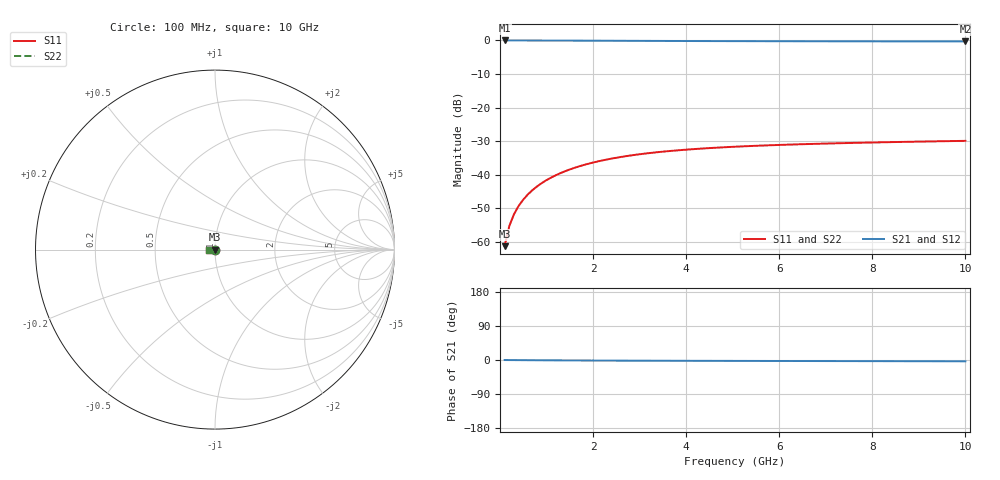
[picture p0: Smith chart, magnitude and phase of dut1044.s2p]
! Touchstone file exported from HFSS 2024.1.0
!  File:  C:/UserFiles/LocalFiles/RDL_TSV_Batchsim/temp_TSV1_1044_1780061997.aedt
!  Generated:  09:45:17 PM May 29, 2026
!  Design:  TSV1
!  Project:  temp_TSV1_1044_1780061997
!  Setup:  Setup1
!  Solution:  Sweep
! Variables:
!  dtsv = 10.76um
!  hbump = 3um
!  htsv = 50.78um
!  lrdl = 252.1521522um
!  p = 40
!  p1 = 45.91um
!  t = 500um
!  trdl = 3um
!  wrdl = 24.89489489um
# GHz S MA R 50.000000
! Terminal data exported
! Port[1] = TSV22_T1
! Port[2] = TSV22_T2
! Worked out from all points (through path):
!   100 points, 100 MHz to 10 GHz, reference 50 ohm
!   highest |S21| = 0.00 dB at 100 MHz (marker M1); lowest = -0.3 dB at 10 GHz (marker M2)
!   lowest |S11| = -61.2 dB at 100 MHz (marker M3), VSWR 1.00, Z = 50 - j0.0863 ohm
!   |S11| at or under -10 dB: start of sweep to end of sweep
!   |S22| runs from -61.2 to -29.9 dB; largest |S21 - S12| = 1.1e-14
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0.1  0.000866 -85.2  0.9999 -0.1  0.9999 -0.1  0.000866 -85.2
! Gamma 0 0 0 0
! Port Impedance 50 0 50 0
0.2  0.001722 -90.2  0.9998 -0.2  0.9998 -0.2  0.001722 -90.2
0.3  0.002576 -92.9  0.9997 -0.3  0.9997 -0.3  0.002576 -92.9
0.4  0.003426 -95.2  0.9995 -0.3  0.9995 -0.3  0.003426 -95.2
0.5  0.004268 -97.2  0.9992 -0.4  0.9992 -0.4  0.004268 -97.2
0.6  0.005102 -99.1  0.9989 -0.5  0.9989 -0.5  0.005102 -99.1
0.7  0.005926 -100.9  0.9986 -0.6  0.9986 -0.6  0.005926 -100.9
0.8  0.006739 -102.6  0.9982 -0.6  0.9982 -0.6  0.006739 -102.6
0.9  0.007538 -104.3  0.9978 -0.7  0.9978 -0.7  0.007538 -104.3
1.1  0.009094 -107.7  0.9969 -0.9  0.9969 -0.9  0.009094 -107.7
1.4  0.0113 -112.4  0.9953 -1.1  0.9953 -1.1  0.0113 -112.4
1.6  0.01268 -115.3  0.9942 -1.2  0.9942 -1.2  0.01268 -115.3
1.8  0.01399 -118.2  0.993 -1.3  0.993 -1.3  0.01399 -118.2
2.1  0.0158 -122.2  0.9912 -1.5  0.9912 -1.5  0.0158 -122.2
2.5  0.01794 -127.2  0.9888 -1.6  0.9888 -1.6  0.01794 -127.2
2.9  0.0198 -131.8  0.9865 -1.8  0.9865 -1.8  0.0198 -131.8
3.4  0.02176 -136.9  0.9838 -2.0  0.9838 -2.0  0.02176 -136.9
4.2  0.02422 -143.9  0.9801 -2.2  0.9801 -2.2  0.02422 -143.9
5.1  0.02628 -150.4  0.9767 -2.4  0.9767 -2.4  0.02628 -150.4
6.7  0.02881 -159.5  0.9723 -2.7  0.9723 -2.7  0.02881 -159.5
8.4  0.03065 -167.1  0.9691 -3.1  0.9691 -3.1  0.03065 -167.1
10  0.03201 -173.2  0.9671 -3.4  0.9671 -3.4  0.03201 -173.2
